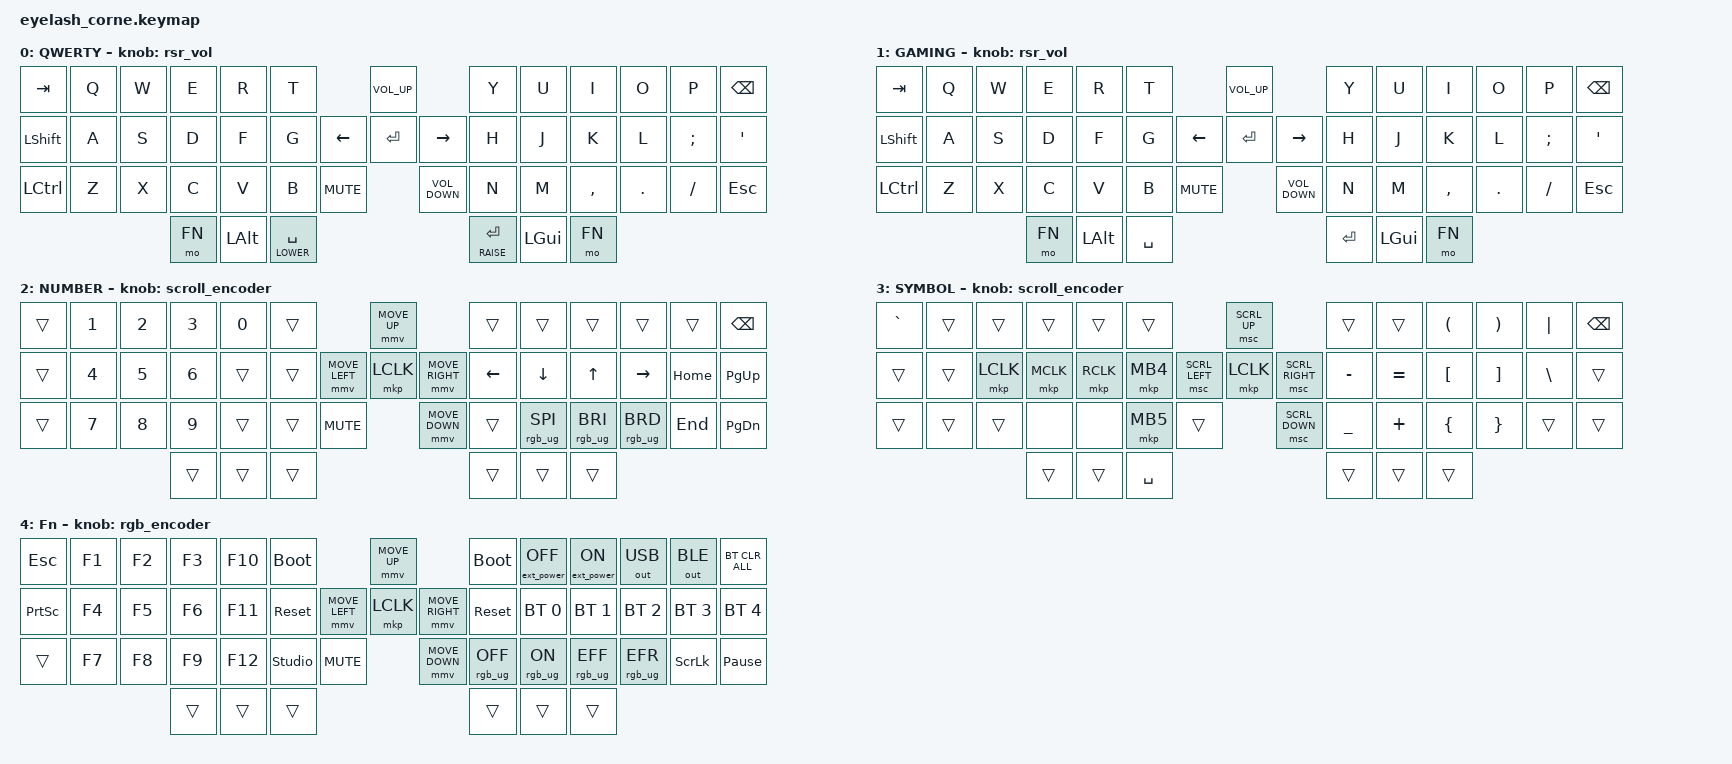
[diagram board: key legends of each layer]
#define ZMK_POINTING_DEFAULT_MOVE_VAL 1200  // 600
#define ZMK_POINTING_DEFAULT_SCRL_VAL 25   // 10

#include <input/processors.dtsi>
#include <zephyr/dt-bindings/input/input-event-codes.h>
#include <behaviors.dtsi>
#include <behaviors/runtime-sensor-rotate.dtsi>
#include <dt-bindings/zmk/bt.h>
#include <dt-bindings/zmk/ext_power.h>
#include <dt-bindings/zmk/keys.h>
#include <dt-bindings/zmk/outputs.h>
#include <dt-bindings/zmk/pointing.h>
#include <dt-bindings/zmk/rgb.h>

#define DEFAULT 0
#define GAMING  1
#define LOWER   2
#define RAISE   3
#define FN      4

&soft_off { hold-time-ms = <2000>; };

/ {
    behaviors {
        /* td0: td0 { */
        /*     compatible = "zmk,behavior-tap-dance"; */
        /*     display-name = "Shift/Caps Lock Tap Dance"; */
        /*     #binding-cells = <0>; */
        /*     bindings = <&kp LEFT_SHIFT>, <&kp CAPS>; */
        /* }; */

        rsr_vol: rsr_vol {
            compatible = "zmk,behavior-runtime-sensor-rotate";
            #sensor-binding-cells = <0>;
            tap-ms = <5>;
            cw-binding = <&kp C_VOL_UP>;
            ccw-binding = <&kp C_VOL_DN>;
        };

        rsr_trans: rsr_trans {
            compatible = "zmk,behavior-runtime-sensor-rotate";
            #sensor-binding-cells = <0>;
            tap-ms = <0>;
        };
    };

    scroll_encoder: scroll_encoder {
        compatible = "zmk,behavior-sensor-rotate";
        #sensor-binding-cells = <0>;
        bindings = <&msc SCRL_DOWN>, <&msc SCRL_UP>;
        tap-ms = <100>;
    };

    rgb_encoder: rgb_encoder {
        compatible = "zmk,behavior-sensor-rotate";
        #sensor-binding-cells = <0>;
        bindings = <&rgb_ug RGB_BRI>, <&rgb_ug RGB_BRD>;
    };

    combos {
        compatible = "zmk,combos";

        softoff {
            bindings = <&soft_off>;
            key-positions = <1 15 29>;
        };

        combo_gaming {
            timeout-ms = <50>;
            key-positions = <0 1>;
            bindings = <&tog GAMING>;
        };
    };

    keymap {
        compatible = "zmk,keymap";

        default_layer {
            display-name = "QWERTY";
            bindings = <
&kp TAB         &kp Q  &kp W  &kp E   &kp R     &kp T                                     &kp C_VOLUME_UP              &kp Y            &kp U     &kp I      &kp O    &kp P     &kp BSPC
&kp LEFT_SHIFT  &kp A  &kp S  &kp D   &kp F     &kp G                           &kp LEFT  &kp ENTER        &kp RIGHT   &kp H            &kp J     &kp K      &kp L    &kp SEMI  &kp SQT
&kp LCTRL       &kp Z  &kp X  &kp C   &kp V     &kp B            &kp C_MUTE               &kp C_VOLUME_DOWN            &kp N            &kp M     &kp COMMA  &kp DOT  &kp FSLH  &kp ESC
                              &mo FN  &kp LALT  &lt LOWER SPACE                                                        &lt RAISE ENTER  &kp LGUI  &mo FN
            >;

            sensor-bindings = <&rsr_vol>;
        };

        gaming_layer {
            display-name = "GAMING";
            bindings = <
&kp TAB         &kp Q  &kp W  &kp E   &kp R     &kp T                                     &kp C_VOLUME_UP              &kp Y            &kp U     &kp I      &kp O    &kp P     &kp BSPC
&kp LEFT_SHIFT  &kp A  &kp S  &kp D   &kp F     &kp G                           &kp LEFT  &kp ENTER        &kp RIGHT   &kp H            &kp J     &kp K      &kp L    &kp SEMI  &kp SQT
&kp LCTRL       &kp Z  &kp X  &kp C   &kp V     &kp B            &kp C_MUTE               &kp C_VOLUME_DOWN            &kp N            &kp M     &kp COMMA  &kp DOT  &kp FSLH  &kp ESC
                              &mo FN  &kp LALT  &kp SPACE                                                              &kp ENTER        &kp LGUI  &mo FN
            >;

            sensor-bindings = <&rsr_vol>;
        };

        lower_layer {
            display-name = "NUMBER";
            bindings = <
&trans  &kp N1  &kp N2  &kp N3  &kp N0  &trans                                 &mmv MOVE_UP                     &trans     &trans           &trans           &trans           &trans    &kp BSPC
&trans  &kp N4  &kp N5  &kp N6  &trans  &trans                 &mmv MOVE_LEFT  &mkp LCLK       &mmv MOVE_RIGHT  &kp LEFT   &kp DOWN         &kp UP           &kp RIGHT        &kp HOME  &kp PG_UP
&trans  &kp N7  &kp N8  &kp N9  &trans  &trans  &kp C_MUTE                     &mmv MOVE_DOWN                   &trans     &rgb_ug RGB_SPI  &rgb_ug RGB_BRI  &rgb_ug RGB_BRD  &kp END   &kp PG_DN
                        &trans  &trans  &trans                                                                  &trans     &trans           &trans
            >;

            sensor-bindings = <&scroll_encoder>;
        };

        raise_layer {
            display-name = "SYMBOL";
            bindings = <
&kp GRAVE  &trans  &trans     &trans     &trans     &trans                                     &msc SCRL_UP                     &trans     &trans     &kp LPAR  &kp RPAR  &kp PIPE  &kp BSPC
&trans     &trans  &mkp LCLK  &mkp MCLK  &mkp RCLK  &mkp MB4                   &msc SCRL_LEFT  &mkp LCLK       &msc SCRL_RIGHT  &kp MINUS  &kp EQUAL  &kp LBKT  &kp RBKT  &kp BSLH  &trans
&trans     &trans  &trans     &none      &none      &mkp MB5   &trans                          &msc SCRL_DOWN                   &kp UNDER  &kp PLUS   &kp LBRC  &kp RBRC  &trans    &trans
                              &trans     &trans     &kp SPACE                                                                   &trans     &trans     &trans
            >;

            sensor-bindings = <&scroll_encoder>;
        };

        fn_layer {
            display-name = "Fn";
            bindings = <
&kp ESC          &kp F1  &kp F2  &kp F3  &kp F10  &bootloader                                     &mmv MOVE_UP                     &bootloader      &ext_power EP_OFF  &ext_power EP_ON  &out OUT_USB     &out OUT_BLE    &bt BT_CLR_ALL
&kp PRINTSCREEN  &kp F4  &kp F5  &kp F6  &kp F11  &sys_reset                      &mmv MOVE_LEFT  &mkp LCLK       &mmv MOVE_RIGHT  &sys_reset       &bt BT_SEL 0       &bt BT_SEL 1      &bt BT_SEL 2     &bt BT_SEL 3    &bt BT_SEL 4
&trans           &kp F7  &kp F8  &kp F9  &kp F12  &studio_unlock  &kp C_MUTE                      &mmv MOVE_DOWN                   &rgb_ug RGB_OFF  &rgb_ug RGB_ON     &rgb_ug RGB_EFF   &rgb_ug RGB_EFR  &kp SCROLLLOCK  &kp PAUSE_BREAK
                                 &trans  &trans   &trans                                                                           &trans           &trans             &trans
            >;

            sensor-bindings = <&rgb_encoder>;
        };
    };
};
